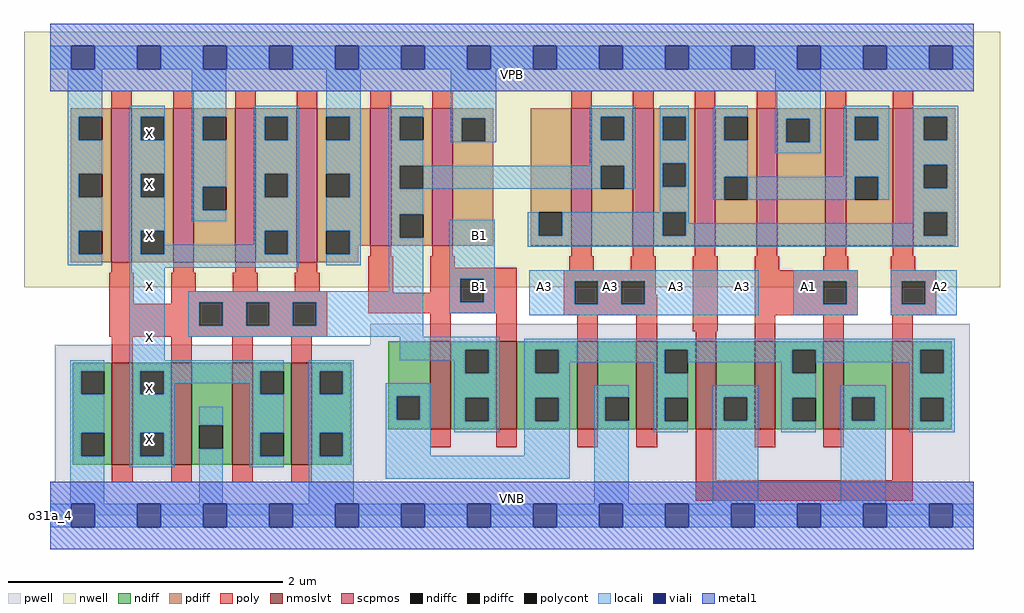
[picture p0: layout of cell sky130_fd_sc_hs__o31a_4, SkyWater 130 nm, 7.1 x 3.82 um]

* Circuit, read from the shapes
.subckt sky130_fd_sc_hs__o31a_4 A1 A2 A3 B1 VGND VNB VPB VPWR X
XM1 X n1 VGND VNB sky130_fd_pr__nfet_01v8_lvt w=0.74 l=0.15 m=4
XM2 n1 B1 n2 VNB sky130_fd_pr__nfet_01v8_lvt w=0.64 l=0.15 m=2
XM3 VGND A3 n2 VNB sky130_fd_pr__nfet_01v8_lvt w=0.64 l=0.15 m=2
XM4 VGND A2 n2 VNB sky130_fd_pr__nfet_01v8_lvt w=0.64 l=0.15 m=2
XM5 n2 A1 VGND VNB sky130_fd_pr__nfet_01v8_lvt w=0.64 l=0.15 m=2
XM6 X n1 VPWR VPB sky130_fd_pr__pfet_01v8 w=1.12 l=0.15 m=4
XM7 n1 B1 VPWR VPB sky130_fd_pr__pfet_01v8 w=1 l=0.15 m=2
XM8 n1 A3 n3 VPB sky130_fd_pr__pfet_01v8 w=1 l=0.15 m=2
XM9 n4 A2 n3 VPB sky130_fd_pr__pfet_01v8 w=1 l=0.15 m=2
XM10 VPWR A1 n4 VPB sky130_fd_pr__pfet_01v8 w=1 l=0.15 m=2
.ends

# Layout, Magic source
magic
tech sky130A
magscale 1 2
<< nwell >>
rect -38 332 1382 704
<< pwell >>
rect 466 248 1338 279
rect 7 49 1338 248
rect 0 0 1344 49
<< scpmos >>
rect 89 368 119 592
rect 179 368 209 592
rect 269 368 299 592
rect 359 368 389 592
rect 466 392 496 592
rect 556 392 586 592
rect 758 392 788 592
rect 848 392 878 592
rect 938 392 968 592
rect 1028 392 1058 592
rect 1128 392 1158 592
rect 1226 392 1256 592
<< nmoslvt >>
rect 90 74 120 222
rect 176 74 206 222
rect 265 74 295 222
rect 351 74 381 222
rect 553 125 583 253
rect 649 125 679 253
rect 767 125 797 253
rect 853 125 883 253
rect 939 125 969 253
rect 1025 125 1055 253
rect 1125 125 1155 253
rect 1225 125 1255 253
<< ndiff >>
rect 33 210 90 222
rect 33 176 45 210
rect 79 176 90 210
rect 33 120 90 176
rect 33 86 45 120
rect 79 86 90 120
rect 33 74 90 86
rect 120 210 176 222
rect 120 176 131 210
rect 165 176 176 210
rect 120 120 176 176
rect 120 86 131 120
rect 165 86 176 120
rect 120 74 176 86
rect 206 131 265 222
rect 206 97 217 131
rect 251 97 265 131
rect 206 74 265 97
rect 295 210 351 222
rect 295 176 306 210
rect 340 176 351 210
rect 295 120 351 176
rect 295 86 306 120
rect 340 86 351 120
rect 295 74 351 86
rect 381 210 438 222
rect 381 176 392 210
rect 426 176 438 210
rect 381 120 438 176
rect 492 173 553 253
rect 492 139 504 173
rect 538 139 553 173
rect 492 125 553 139
rect 583 241 649 253
rect 583 207 604 241
rect 638 207 649 241
rect 583 171 649 207
rect 583 137 604 171
rect 638 137 649 171
rect 583 125 649 137
rect 679 241 767 253
rect 679 207 706 241
rect 740 207 767 241
rect 679 171 767 207
rect 679 137 706 171
rect 740 137 767 171
rect 679 125 767 137
rect 797 172 853 253
rect 797 138 808 172
rect 842 138 853 172
rect 797 125 853 138
rect 883 241 939 253
rect 883 207 894 241
rect 928 207 939 241
rect 883 171 939 207
rect 883 137 894 171
rect 928 137 939 171
rect 883 125 939 137
rect 969 172 1025 253
rect 969 138 980 172
rect 1014 138 1025 172
rect 969 125 1025 138
rect 1055 241 1125 253
rect 1055 207 1080 241
rect 1114 207 1125 241
rect 1055 171 1125 207
rect 1055 137 1080 171
rect 1114 137 1125 171
rect 1055 125 1125 137
rect 1155 172 1225 253
rect 1155 138 1166 172
rect 1200 138 1225 172
rect 1155 125 1225 138
rect 1255 241 1312 253
rect 1255 207 1266 241
rect 1300 207 1312 241
rect 1255 171 1312 207
rect 1255 137 1266 171
rect 1300 137 1312 171
rect 1255 125 1312 137
rect 381 86 392 120
rect 426 86 438 120
rect 381 74 438 86
<< pdiff >>
rect 30 580 89 592
rect 30 546 42 580
rect 76 546 89 580
rect 30 497 89 546
rect 30 463 42 497
rect 76 463 89 497
rect 30 414 89 463
rect 30 380 42 414
rect 76 380 89 414
rect 30 368 89 380
rect 119 580 179 592
rect 119 546 132 580
rect 166 546 179 580
rect 119 497 179 546
rect 119 463 132 497
rect 166 463 179 497
rect 119 414 179 463
rect 119 380 132 414
rect 166 380 179 414
rect 119 368 179 380
rect 209 580 269 592
rect 209 546 222 580
rect 256 546 269 580
rect 209 478 269 546
rect 209 444 222 478
rect 256 444 269 478
rect 209 368 269 444
rect 299 580 359 592
rect 299 546 312 580
rect 346 546 359 580
rect 299 497 359 546
rect 299 463 312 497
rect 346 463 359 497
rect 299 414 359 463
rect 299 380 312 414
rect 346 380 359 414
rect 299 368 359 380
rect 389 580 466 592
rect 389 546 402 580
rect 436 546 466 580
rect 389 497 466 546
rect 389 463 402 497
rect 436 463 466 497
rect 389 414 466 463
rect 389 380 402 414
rect 436 392 466 414
rect 496 580 556 592
rect 496 546 509 580
rect 543 546 556 580
rect 496 509 556 546
rect 496 475 509 509
rect 543 475 556 509
rect 496 438 556 475
rect 496 404 509 438
rect 543 404 556 438
rect 496 392 556 404
rect 586 578 645 592
rect 586 544 599 578
rect 633 544 645 578
rect 586 392 645 544
rect 699 441 758 592
rect 699 407 711 441
rect 745 407 758 441
rect 699 392 758 407
rect 788 580 848 592
rect 788 546 801 580
rect 835 546 848 580
rect 788 509 848 546
rect 788 475 801 509
rect 835 475 848 509
rect 788 392 848 475
rect 878 580 938 592
rect 878 546 891 580
rect 925 546 938 580
rect 878 512 938 546
rect 878 478 891 512
rect 925 478 938 512
rect 878 441 938 478
rect 878 407 891 441
rect 925 407 938 441
rect 878 392 938 407
rect 968 580 1028 592
rect 968 546 981 580
rect 1015 546 1028 580
rect 968 493 1028 546
rect 968 459 981 493
rect 1015 459 1028 493
rect 968 392 1028 459
rect 1058 577 1128 592
rect 1058 543 1071 577
rect 1105 543 1128 577
rect 1058 392 1128 543
rect 1158 580 1226 592
rect 1158 546 1171 580
rect 1205 546 1226 580
rect 1158 493 1226 546
rect 1158 459 1171 493
rect 1205 459 1226 493
rect 1158 392 1226 459
rect 1256 580 1317 592
rect 1256 546 1271 580
rect 1305 546 1317 580
rect 1256 510 1317 546
rect 1256 476 1271 510
rect 1305 476 1317 510
rect 1256 441 1317 476
rect 1256 407 1271 441
rect 1305 407 1317 441
rect 1256 392 1317 407
rect 436 380 448 392
rect 389 368 448 380
<< ndiffc >>
rect 45 176 79 210
rect 45 86 79 120
rect 131 176 165 210
rect 131 86 165 120
rect 217 97 251 131
rect 306 176 340 210
rect 306 86 340 120
rect 392 176 426 210
rect 504 139 538 173
rect 604 207 638 241
rect 604 137 638 171
rect 706 207 740 241
rect 706 137 740 171
rect 808 138 842 172
rect 894 207 928 241
rect 894 137 928 171
rect 980 138 1014 172
rect 1080 207 1114 241
rect 1080 137 1114 171
rect 1166 138 1200 172
rect 1266 207 1300 241
rect 1266 137 1300 171
rect 392 86 426 120
<< pdiffc >>
rect 42 546 76 580
rect 42 463 76 497
rect 42 380 76 414
rect 132 546 166 580
rect 132 463 166 497
rect 132 380 166 414
rect 222 546 256 580
rect 222 444 256 478
rect 312 546 346 580
rect 312 463 346 497
rect 312 380 346 414
rect 402 546 436 580
rect 402 463 436 497
rect 402 380 436 414
rect 509 546 543 580
rect 509 475 543 509
rect 509 404 543 438
rect 599 544 633 578
rect 711 407 745 441
rect 801 546 835 580
rect 801 475 835 509
rect 891 546 925 580
rect 891 478 925 512
rect 891 407 925 441
rect 981 546 1015 580
rect 981 459 1015 493
rect 1071 543 1105 577
rect 1171 546 1205 580
rect 1171 459 1205 493
rect 1271 546 1305 580
rect 1271 476 1305 510
rect 1271 407 1305 441
<< poly >>
rect 89 592 119 618
rect 179 592 209 618
rect 269 592 299 618
rect 359 592 389 618
rect 466 592 496 618
rect 556 592 586 618
rect 758 592 788 618
rect 848 592 878 618
rect 938 592 968 618
rect 1028 592 1058 618
rect 1128 592 1158 618
rect 1226 592 1256 618
rect 466 377 496 392
rect 556 377 586 392
rect 758 377 788 392
rect 848 377 878 392
rect 938 377 968 392
rect 1028 377 1058 392
rect 1128 377 1158 392
rect 1226 377 1256 392
rect 89 353 119 368
rect 179 353 209 368
rect 269 353 299 368
rect 359 353 389 368
rect 86 308 122 353
rect 176 326 212 353
rect 266 326 302 353
rect 356 326 392 353
rect 176 310 403 326
rect 176 308 217 310
rect 86 276 217 308
rect 251 276 285 310
rect 319 276 353 310
rect 387 276 403 310
rect 463 324 499 377
rect 553 360 589 377
rect 553 344 679 360
rect 755 357 791 377
rect 845 357 881 377
rect 553 324 597 344
rect 463 310 597 324
rect 631 310 679 344
rect 463 294 679 310
rect 86 260 403 276
rect 90 222 120 260
rect 176 222 206 260
rect 265 222 295 260
rect 351 222 381 260
rect 553 253 583 294
rect 649 253 679 294
rect 747 341 881 357
rect 747 307 763 341
rect 797 307 831 341
rect 865 321 881 341
rect 865 307 883 321
rect 747 291 883 307
rect 767 253 797 291
rect 853 253 883 291
rect 935 268 971 377
rect 1025 357 1061 377
rect 1125 357 1161 377
rect 1223 357 1259 377
rect 1025 341 1175 357
rect 1025 307 1125 341
rect 1159 307 1175 341
rect 1025 291 1175 307
rect 1223 341 1289 357
rect 1223 307 1239 341
rect 1273 307 1289 341
rect 1223 291 1289 307
rect 939 253 969 268
rect 1025 253 1055 291
rect 1125 253 1155 291
rect 1225 253 1255 291
rect 553 99 583 125
rect 649 99 679 125
rect 767 99 797 125
rect 853 99 883 125
rect 90 48 120 74
rect 176 48 206 74
rect 265 48 295 74
rect 351 48 381 74
rect 939 51 969 125
rect 1025 99 1055 125
rect 1125 99 1155 125
rect 1225 51 1255 125
rect 939 21 1255 51
<< polycont >>
rect 217 276 251 310
rect 285 276 319 310
rect 353 276 387 310
rect 597 310 631 344
rect 763 307 797 341
rect 831 307 865 341
rect 1125 307 1159 341
rect 1239 307 1273 341
<< locali >>
rect 0 649 31 683
rect 65 649 127 683
rect 161 649 223 683
rect 257 649 319 683
rect 353 649 415 683
rect 449 649 511 683
rect 545 649 607 683
rect 641 649 703 683
rect 737 649 799 683
rect 833 649 895 683
rect 929 649 991 683
rect 1025 649 1087 683
rect 1121 649 1183 683
rect 1217 649 1279 683
rect 1313 649 1344 683
rect 26 580 76 649
rect 26 546 42 580
rect 26 497 76 546
rect 26 463 42 497
rect 26 414 76 463
rect 26 380 42 414
rect 26 364 76 380
rect 115 580 167 596
rect 115 546 132 580
rect 166 546 167 580
rect 115 497 167 546
rect 115 463 132 497
rect 166 463 167 497
rect 115 414 167 463
rect 206 580 256 649
rect 206 546 222 580
rect 206 478 256 546
rect 206 444 222 478
rect 206 428 256 444
rect 296 580 362 596
rect 296 546 312 580
rect 346 546 362 580
rect 296 497 362 546
rect 296 463 312 497
rect 346 463 362 497
rect 115 380 132 414
rect 166 394 167 414
rect 296 414 362 463
rect 296 394 312 414
rect 166 380 312 394
rect 346 380 362 414
rect 115 360 362 380
rect 402 580 452 649
rect 436 546 452 580
rect 402 497 452 546
rect 436 463 452 497
rect 402 414 452 463
rect 436 380 452 414
rect 402 364 452 380
rect 493 580 543 596
rect 493 546 509 580
rect 493 509 543 546
rect 583 578 649 649
rect 583 544 599 578
rect 633 544 649 578
rect 583 543 649 544
rect 785 580 851 596
rect 785 546 801 580
rect 835 546 851 580
rect 785 509 851 546
rect 493 475 509 509
rect 543 475 801 509
rect 835 475 851 509
rect 887 580 929 596
rect 887 546 891 580
rect 925 546 929 580
rect 887 512 929 546
rect 887 478 891 512
rect 925 478 929 512
rect 493 438 543 475
rect 887 441 929 478
rect 965 580 1015 596
rect 965 546 981 580
rect 965 493 1015 546
rect 1055 577 1121 649
rect 1055 543 1071 577
rect 1105 543 1121 577
rect 1055 527 1121 543
rect 1155 580 1221 596
rect 1155 546 1171 580
rect 1205 546 1221 580
rect 1155 493 1221 546
rect 965 459 981 493
rect 1015 459 1171 493
rect 1205 459 1221 493
rect 1255 580 1321 596
rect 1255 546 1271 580
rect 1305 546 1321 580
rect 1255 510 1321 546
rect 1255 476 1271 510
rect 1305 476 1321 510
rect 493 404 509 438
rect 115 226 167 360
rect 493 326 543 404
rect 201 310 543 326
rect 201 276 217 310
rect 251 276 285 310
rect 319 276 353 310
rect 387 276 543 310
rect 581 344 647 430
rect 695 407 711 441
rect 745 407 891 441
rect 925 425 929 441
rect 1255 441 1321 476
rect 1255 425 1271 441
rect 925 407 1271 425
rect 1305 407 1321 441
rect 695 391 1321 407
rect 581 310 597 344
rect 631 310 647 344
rect 581 294 647 310
rect 697 341 1031 357
rect 697 307 763 341
rect 797 307 831 341
rect 865 307 1031 341
rect 697 291 1031 307
rect 1081 341 1175 357
rect 1081 307 1125 341
rect 1159 307 1175 341
rect 1081 291 1175 307
rect 1223 341 1319 357
rect 1223 307 1239 341
rect 1273 307 1319 341
rect 1223 291 1319 307
rect 201 260 543 276
rect 509 241 654 260
rect 509 226 604 241
rect 29 210 79 226
rect 29 176 45 210
rect 29 120 79 176
rect 29 86 45 120
rect 29 17 79 86
rect 115 210 340 226
rect 115 176 131 210
rect 165 192 306 210
rect 165 176 181 192
rect 115 120 181 176
rect 290 176 306 192
rect 115 86 131 120
rect 165 86 181 120
rect 115 70 181 86
rect 217 131 251 158
rect 217 17 251 97
rect 290 120 340 176
rect 290 86 306 120
rect 290 70 340 86
rect 376 210 442 226
rect 376 176 392 210
rect 426 176 442 210
rect 588 207 604 226
rect 638 207 654 241
rect 376 120 442 176
rect 376 86 392 120
rect 426 86 442 120
rect 376 17 442 86
rect 488 173 554 192
rect 488 139 504 173
rect 538 139 554 173
rect 488 87 554 139
rect 588 171 654 207
rect 588 137 604 171
rect 638 137 654 171
rect 588 121 654 137
rect 690 241 1316 257
rect 690 207 706 241
rect 740 223 894 241
rect 740 207 756 223
rect 690 171 756 207
rect 878 207 894 223
rect 928 223 1080 241
rect 690 137 706 171
rect 740 137 756 171
rect 690 87 756 137
rect 488 53 756 87
rect 792 172 842 189
rect 792 138 808 172
rect 792 17 842 138
rect 878 171 928 207
rect 1064 207 1080 223
rect 1114 223 1266 241
rect 878 137 894 171
rect 878 121 928 137
rect 964 172 1030 189
rect 964 138 980 172
rect 1014 138 1030 172
rect 964 17 1030 138
rect 1064 171 1114 207
rect 1250 207 1266 223
rect 1300 207 1316 241
rect 1064 137 1080 171
rect 1064 121 1114 137
rect 1150 172 1216 189
rect 1150 138 1166 172
rect 1200 138 1216 172
rect 1150 17 1216 138
rect 1250 171 1316 207
rect 1250 137 1266 171
rect 1300 137 1316 171
rect 1250 121 1316 137
rect 0 -17 31 17
rect 65 -17 127 17
rect 161 -17 223 17
rect 257 -17 319 17
rect 353 -17 415 17
rect 449 -17 511 17
rect 545 -17 607 17
rect 641 -17 703 17
rect 737 -17 799 17
rect 833 -17 895 17
rect 929 -17 991 17
rect 1025 -17 1087 17
rect 1121 -17 1183 17
rect 1217 -17 1279 17
rect 1313 -17 1344 17
<< viali >>
rect 31 649 65 683
rect 127 649 161 683
rect 223 649 257 683
rect 319 649 353 683
rect 415 649 449 683
rect 511 649 545 683
rect 607 649 641 683
rect 703 649 737 683
rect 799 649 833 683
rect 895 649 929 683
rect 991 649 1025 683
rect 1087 649 1121 683
rect 1183 649 1217 683
rect 1279 649 1313 683
rect 31 -17 65 17
rect 127 -17 161 17
rect 223 -17 257 17
rect 319 -17 353 17
rect 415 -17 449 17
rect 511 -17 545 17
rect 607 -17 641 17
rect 703 -17 737 17
rect 799 -17 833 17
rect 895 -17 929 17
rect 991 -17 1025 17
rect 1087 -17 1121 17
rect 1183 -17 1217 17
rect 1279 -17 1313 17
<< metal1 >>
rect 0 683 1344 715
rect 0 649 31 683
rect 65 649 127 683
rect 161 649 223 683
rect 257 649 319 683
rect 353 649 415 683
rect 449 649 511 683
rect 545 649 607 683
rect 641 649 703 683
rect 737 649 799 683
rect 833 649 895 683
rect 929 649 991 683
rect 1025 649 1087 683
rect 1121 649 1183 683
rect 1217 649 1279 683
rect 1313 649 1344 683
rect 0 617 1344 649
rect 0 17 1344 49
rect 0 -17 31 17
rect 65 -17 127 17
rect 161 -17 223 17
rect 257 -17 319 17
rect 353 -17 415 17
rect 449 -17 511 17
rect 545 -17 607 17
rect 641 -17 703 17
rect 737 -17 799 17
rect 833 -17 895 17
rect 929 -17 991 17
rect 1025 -17 1087 17
rect 1121 -17 1183 17
rect 1217 -17 1279 17
rect 1313 -17 1344 17
rect 0 -49 1344 -17
<< labels >>
rlabel comment s 0 0 0 0 4 o31a_4
flabel pwell s 0 0 1344 49 0 FreeSans 200 0 0 0 VNB
port 6 nsew ground bidirectional
flabel nwell s 0 617 1344 666 0 FreeSans 200 0 0 0 VPB
port 7 nsew power bidirectional
flabel metal1 s 0 617 1344 666 0 FreeSans 340 0 0 0 VPWR
port 8 nsew power bidirectional
flabel metal1 s 0 0 1344 49 0 FreeSans 340 0 0 0 VGND
port 5 nsew ground bidirectional
flabel locali s 1279 316 1313 350 0 FreeSans 340 0 0 0 A2
port 2 nsew signal input
flabel locali s 1087 316 1121 350 0 FreeSans 340 0 0 0 A1
port 1 nsew signal input
flabel locali s 703 316 737 350 0 FreeSans 340 0 0 0 A3
port 3 nsew signal input
flabel locali s 799 316 833 350 0 FreeSans 340 0 0 0 A3
port 3 nsew signal input
flabel locali s 895 316 929 350 0 FreeSans 340 0 0 0 A3
port 3 nsew signal input
flabel locali s 991 316 1025 350 0 FreeSans 340 0 0 0 A3
port 3 nsew signal input
flabel locali s 607 316 641 350 0 FreeSans 340 0 0 0 B1
port 4 nsew signal input
flabel locali s 607 390 641 424 0 FreeSans 340 0 0 0 B1
port 4 nsew signal input
flabel locali s 127 94 161 128 0 FreeSans 340 0 0 0 X
port 9 nsew signal output
flabel locali s 127 168 161 202 0 FreeSans 340 0 0 0 X
port 9 nsew signal output
flabel locali s 127 242 161 276 0 FreeSans 340 0 0 0 X
port 9 nsew signal output
flabel locali s 127 316 161 350 0 FreeSans 340 0 0 0 X
port 9 nsew signal output
flabel locali s 127 390 161 424 0 FreeSans 340 0 0 0 X
port 9 nsew signal output
flabel locali s 127 464 161 498 0 FreeSans 340 0 0 0 X
port 9 nsew signal output
flabel locali s 127 538 161 572 0 FreeSans 340 0 0 0 X
port 9 nsew signal output
<< properties >>
string LEFsite unit
string LEFclass CORE
string FIXED_BBOX 0 0 1344 666
string GDS_FILE $PDKPATH/libs.ref/sky130_fd_sc_hs/gds/sky130_fd_sc_hs.gds
string LEFsymmetry X Y
string GDS_END 1222416
string GDS_START 1210130
<< end >>
